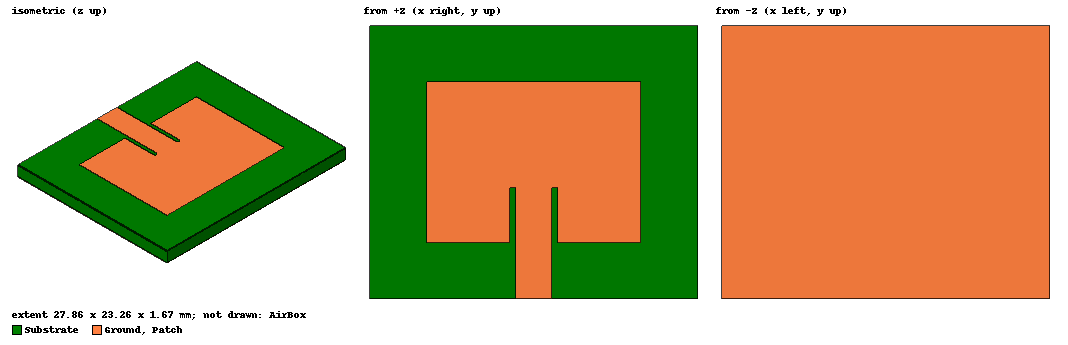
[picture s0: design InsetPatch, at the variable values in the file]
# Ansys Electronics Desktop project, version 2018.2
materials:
  vacuum: permittivity=1
  copper: permeability=0.999991 conductivity=58000000
  FR4_epoxy: permittivity=4.4 dielectric_loss_tangent=0.02
  air: permittivity=1.0006 permeability=1.0000004

design InsetPatch (HFSS, DrivenModal, model units mm)
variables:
  h_s = 1.6mm
  h_m = 0.035mm
  w_p = 18.2574mm
  l_p = 13.6629mm
  w_f = 3.059mm
  y_0 = 4.6689mm
  g = 0.5mm
  w_s = w_p+6*h_s
  l_s = l_p+6*h_s
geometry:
  Ground [copper] = box(corner=(0mm, 0mm, 0mm), size=(w_s, l_s, -h_m))
  Substrate [FR4_epoxy] = box(corner=(0mm, 0mm, 0mm), size=(w_s, l_s, h_s))
  Patch [copper] = box(corner=(w_s/2-w_p/2, l_s/2-l_p/2, h_s), size=(w_p, l_p, h_m))
  Slot1 = box(corner=(w_s/2-w_f/2-g, l_s/2-l_p/2, h_s), size=(g, y_0, h_m))
  Slot2 = box(corner=(w_s/2+w_f/2, l_s/2-l_p/2, h_s), size=(g, y_0, h_m))
  Feed = box(corner=(w_s/2-w_f/2, 0mm, h_s), size=(w_f, l_s/2-l_p/2+y_0, h_m))
  Patch.subtract(Slot1, Slot2)
  Patch.unite(Feed)
  PortSheet = rectangle(corner=(w_s/2-w_f/2, 0mm, 0mm), z_size=h_s, x_size=w_f)
  AirBox [air] = box(corner=(-20mm, -20mm, -20mm), size=(w_s+2*20.0000mm, l_s+2*20.0000mm, h_s+2*20.0000mm))
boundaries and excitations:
  Rad1: Radiation Objects=AirBox
  1: Lumped Port Objects=PortSheet Modes{Mode1{IntLine{middle of PortSheet.edge(z at corner) -> middle of PortSheet.edge(z opposite corner)} CharImp=Zpi RenormImp=50ohm}} Impedance=50ohm
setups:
  Setup1: HfssDriven Frequency=5GHz MaxDeltaS=0.01 MaximumPasses=20 MinimumPasses=2 MinimumConvergedPasses=2 PercentRefinement=30 BasisOrder=1 PortAccuracy=2
    sweep Sweep: 4GHz to 6GHz step 0.01GHz; Type=Interpolating InterpTolerance=0.5 InterpMaxSolns=250 InterpUsePortImped=false PassivityErrorTolerance=0.0001
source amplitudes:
  1:1: 1W 0deg
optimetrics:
  ParametricSetup1: Parametric Sim._Setups=[Setup1]
    sweep y_0: LIN 3.5mm 6mm 0.5mm
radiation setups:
  Sphere3D: Infinite Sphere Theta=0deg..180deg step 2deg Phi=0deg..360deg step 2deg
  Cuts: Infinite Sphere Theta=-180deg..180deg step 1deg Phi=0deg..90deg step 90deg
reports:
  S11: dB(S(1,1)) vs Freq on Setup1 : Sweep
  VSWR: VSWR(1) vs Freq on Setup1 : Sweep
  Smith Chart: S(1,1) on Setup1 : Sweep [Freq=all]
  Gain 3D: dB(GainTotal) vs Phi, Theta on Setup1 : LastAdaptive, Sphere3D [Freq=all]
  Gain E-H planes: dB(GainTotal) vs Theta on Setup1 : LastAdaptive, Cuts [Phi=all Freq=all]
  S Parameter Plot 1: dB(S(1,1)) vs Freq on Setup1 : Sweep
